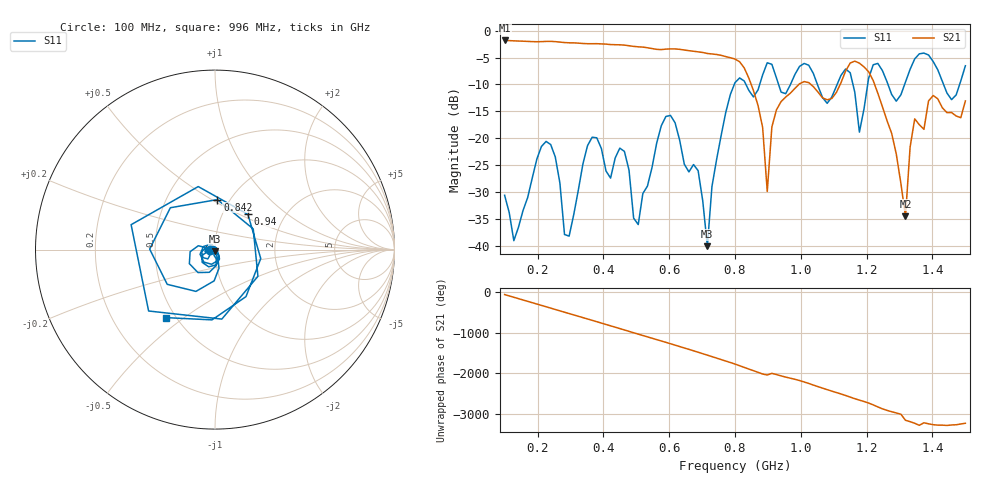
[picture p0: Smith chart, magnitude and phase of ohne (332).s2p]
! NanoVNA-App
! Date: 2025-09-25 14:23:23
! Start: 100MHz Stop: 1,5GHz Points: 101
! S-Parameter data: F S11 S21 S12 S22
# Hz S RI R 50
!  Frequency  S11_Real  S11_Imag  S21_Real  S21_Imag  S12_Real  S12_Imag  S22_Real  S22_Imag
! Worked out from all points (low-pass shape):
!   101 points, 100 MHz to 1.5 GHz, reference 50 ohm
!   highest |S21| = -1.79 dB at 100 MHz (marker M1); lowest = -34.6 dB at 1.318 GHz (marker M2)
!   |S21| within 3 dB of the highest: start of sweep to 771.6 MHz
!   lowest |S11| = -40.1 dB at 716 MHz (marker M3), VSWR 1.02, Z = 49.8 - j0.954 ohm
!   |S11| at or under -10 dB: start of sweep to 797.8 MHz; 833.2 MHz to 875 MHz (41.76 MHz wide, 4.89 % of centre); 1.05 GHz to 1.11 GHz (59.86 MHz wide, 5.54 % of centre)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
!   S12 and S22 are empty: the file has one direction only
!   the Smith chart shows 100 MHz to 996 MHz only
!   S11 on the Smith chart (normalised r, x): 100 MHz: 0.94, -0.01; 842 MHz: 0.88, +0.53; 940 MHz: 1.32, +0.56; 996 MHz: 0.45, -0.43
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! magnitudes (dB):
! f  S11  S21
! 100 MHz  -30.6  -1.8
! 128 MHz  -39.1  -1.9
! 226 MHz  -20.6  -2.0
! 296 MHz  -38.3  -2.2
! 338 MHz  -24.8  -2.4
! 464 MHz  -22.5  -2.7
! 506 MHz  -36.1  -3.0
! 576 MHz  -17.7  -3.5
! 688 MHz  -26.1  -3.9
! 716 MHz  -40.1  -4.2
! 800 MHz  -9.7  -5.3
! 842 MHz  -11.1  -8.8
! 898 MHz  -6.0  -29.9
! 940 MHz  -11.4  -13.2
! 996 MHz  -6.6  -9.9
! 1.038 GHz  -7.9  -10.4
! 1.178 GHz  -18.9  -6.0
! 1.22 GHz  -6.3  -9.3
! 1.276 GHz  -11.9  -19.1
! 1.318 GHz  -9.5  -34.6
! 1.346 GHz  -5.2  -16.4
! 1.5 GHz  -6.5  -13.1
